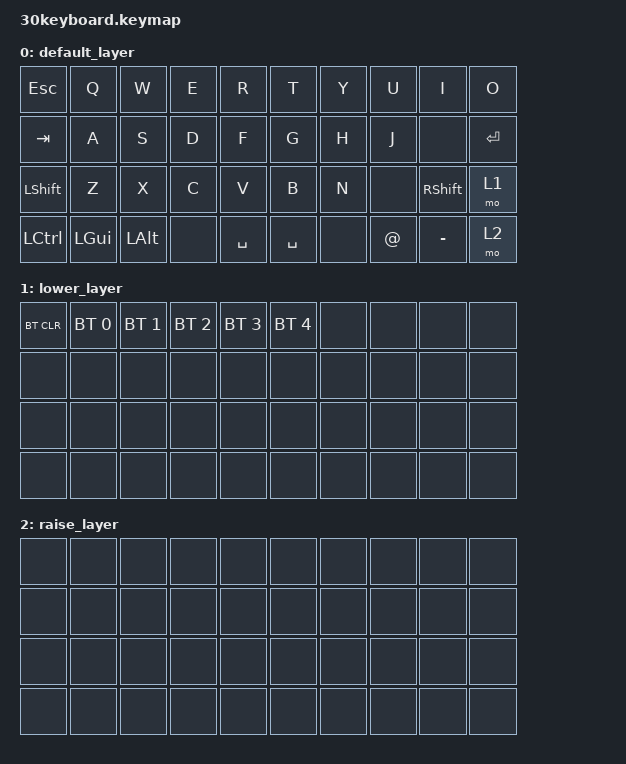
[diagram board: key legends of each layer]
#include <behaviors.dtsi>
#include <dt-bindings/zmk/keys.h>
#include <dt-bindings/zmk/bt.h>

/ {
    keymap {
        compatible = "zmk,keymap";

        default_layer {
            bindings = <
                &kp ESC   &kp Q     &kp W     &kp E     &kp R     &kp T     &kp Y     &kp U     &kp I     &kp O
                &kp TAB   &kp A     &kp S     &kp D     &kp F     &kp G     &kp H     &kp J     &none     &kp ENTER
                &kp LSHFT &kp Z     &kp X     &kp C     &kp V     &kp B     &kp N     &none     &kp RSHFT &mo 1
                &kp LCTRL &kp LGUI  &kp LALT  &none     &kp SPACE &kp SPACE &none     &kp AT    &kp MINUS &mo 2
            >;
        };

        lower_layer {
            bindings = <
                &bt BT_CLR &bt BT_SEL 0 &bt BT_SEL 1 &bt BT_SEL 2 &bt BT_SEL 3 &bt BT_SEL 4 &none &none &none &none
                &none      &none        &none        &none        &none        &none        &none &none &none &none
                &none      &none        &none        &none        &none        &none        &none &none &none &none
                &none      &none        &none        &none        &none        &none        &none &none &none &none
            >;
        };

        raise_layer {
            bindings = <
                &none &none &none &none &none &none &none &none &none &none
                &none &none &none &none &none &none &none &none &none &none
                &none &none &none &none &none &none &none &none &none &none
                &none &none &none &none &none &none &none &none &none &none
            >;
        };
    };
};
